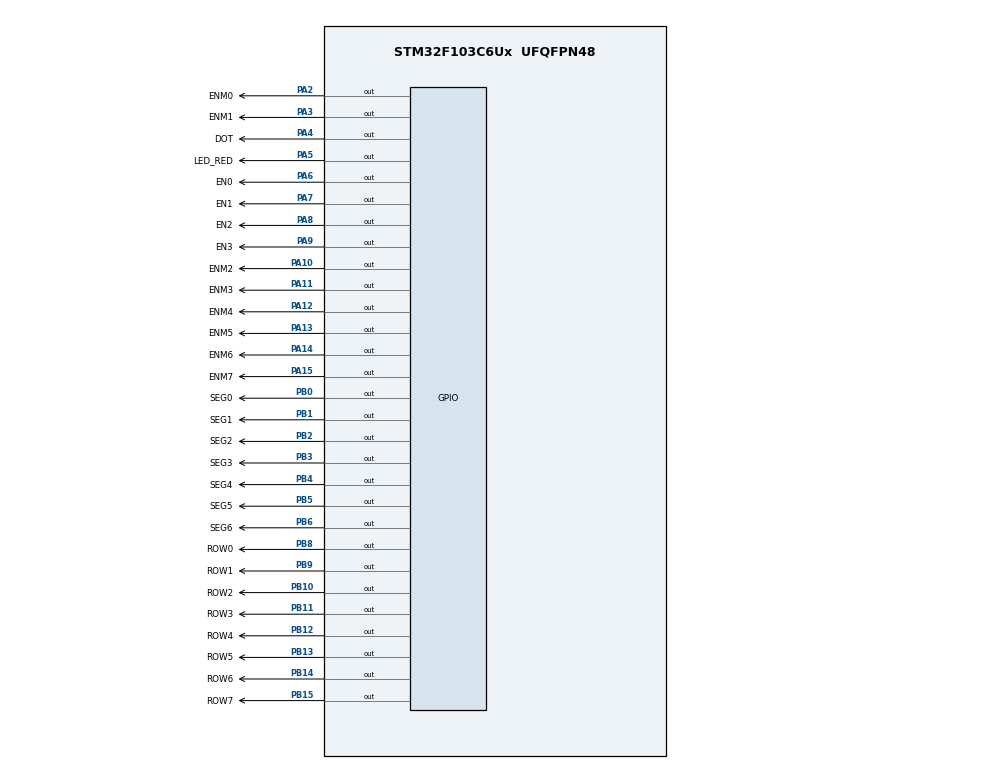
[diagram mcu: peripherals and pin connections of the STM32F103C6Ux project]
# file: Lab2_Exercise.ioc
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Mcu.Family=STM32F1
Mcu.Name=STM32F103C6Ux
Mcu.Package=UFQFPN48
NVIC.PriorityGroup=NVIC_PRIORITYGROUP_4
NVIC.TIM2_IRQn=true\:0\:0\:false\:false\:true\:true\:true
PA10.GPIO_Label=ENM2
PA10.Signal=GPIO_Output
PA11.GPIO_Label=ENM3
PA11.Signal=GPIO_Output
PA12.GPIO_Label=ENM4
PA12.Signal=GPIO_Output
PA13.GPIO_Label=ENM5
PA13.Signal=GPIO_Output
PA14.GPIO_Label=ENM6
PA14.Signal=GPIO_Output
PA15.GPIO_Label=ENM7
PA15.Signal=GPIO_Output
PA2.GPIO_Label=ENM0
PA2.Signal=GPIO_Output
PA3.GPIO_Label=ENM1
PA3.Signal=GPIO_Output
PA4.GPIO_Label=DOT
PA4.Signal=GPIO_Output
PA5.GPIO_Label=LED_RED
PA5.Signal=GPIO_Output
PA6.GPIO_Label=EN0
PA6.Signal=GPIO_Output
PA7.GPIO_Label=EN1
PA7.Signal=GPIO_Output
PA8.GPIO_Label=EN2
PA8.Signal=GPIO_Output
PA9.GPIO_Label=EN3
PA9.Signal=GPIO_Output
PB0.GPIO_Label=SEG0
PB0.Signal=GPIO_Output
PB1.GPIO_Label=SEG1
PB1.Signal=GPIO_Output
PB10.GPIO_Label=ROW2
PB10.Signal=GPIO_Output
PB11.GPIO_Label=ROW3
PB11.Signal=GPIO_Output
PB12.GPIO_Label=ROW4
PB12.Signal=GPIO_Output
PB13.GPIO_Label=ROW5
PB13.Signal=GPIO_Output
PB14.GPIO_Label=ROW6
PB14.Signal=GPIO_Output
PB15.GPIO_Label=ROW7
PB15.Signal=GPIO_Output
PB2.GPIO_Label=SEG2
PB2.Signal=GPIO_Output
PB3.GPIO_Label=SEG3
PB3.Signal=GPIO_Output
PB4.GPIO_Label=SEG4
PB4.Signal=GPIO_Output
PB5.GPIO_Label=SEG5
PB5.Signal=GPIO_Output
PB6.GPIO_Label=SEG6
PB6.Signal=GPIO_Output
PB8.GPIO_Label=ROW0
PB8.Signal=GPIO_Output
PB9.GPIO_Label=ROW1
PB9.Signal=GPIO_Output
ProjectManager.HeapSize=0x200
ProjectManager.StackSize=0x400
ProjectManager.TargetToolchain=STM32CubeIDE
RCC.APB1Freq_Value=8000000
RCC.APB2Freq_Value=8000000
TIM2.CounterMode=TIM_COUNTERMODE_UP
TIM2.Period=9
TIM2.Prescaler=7999
VP_SYS_VS_ND.Mode=No_Debug
VP_TIM2_VS_ClockSourceINT.Mode=Internal
board=custom

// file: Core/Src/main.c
/* USER CODE BEGIN Header */
/**
  ******************************************************************************
  * @file           : main.c
  * @brief          : Main program body
  ******************************************************************************
  * @attention
  *
  * <h2><center>&copy; Copyright (c) 2023 STMicroelectronics.
  * All rights reserved.</center></h2>
  *
  * This software component is licensed by ST under BSD 3-Clause license,
  * the "License"; You may not use this file except in compliance with the
  * License. You may obtain a copy of the License at:
  *                        opensource.org/licenses/BSD-3-Clause
  *
  ******************************************************************************
  */
/* USER CODE END Header */
#include "main.h"

/* USER CODE BEGIN Includes */
#include "software_timer.h"
/* USER CODE END Includes */

TIM_HandleTypeDef htim2;

void SystemClock_Config(void);
static void MX_GPIO_Init(void);
static void MX_TIM2_Init(void);
/* USER CODE BEGIN PFP */
void display7SEG(int num);
void update7SEG(int index);
void updateClockBuffer(int hour, int minute);
void clearRow();
void clearCol();
void setRow(uint8_t code);
void updateLEDMatrix(int index, int index_led_matrix);
/* USER CODE END PFP */

int main(void)
{

  /* MCU Configuration--------------------------------------------------------*/

  /* Reset of all peripherals, Initializes the Flash interface and the Systick. */
  HAL_Init();

  /* Configure the system clock */
  SystemClock_Config();

  /* Initialize all configured peripherals */
  MX_GPIO_Init();
  MX_TIM2_Init();
  /* USER CODE BEGIN 2 */
  HAL_TIM_Base_Start_IT(&htim2);
  /* USER CODE END 2 */

  /* Infinite loop */
  /* USER CODE BEGIN WHILE */

  const int MAX_LED = 4;
  int index_led = 0;
  int hour = 15 , minute = 8 , second = 50;

  const int MAX_LED_MATRIX = 8;
  int index_led_matrix = 0;
  int col = 3;
  int currentState = 3;

  setTimer(10, 1);
  setTimer(100, 2);
  setTimer(100, 3);
  setTimer(100, 4);
  setTimer(1, 5);
  while (1)
  {
	  if (timer_flag[1] == 1){
		  setTimer(10, 1);
		  update7SEG(index_led);
		  index_led = (index_led + 1) % MAX_LED;
	  }

	  if (timer_flag[2] == 1){
		  setTimer(100, 2);
		  HAL_GPIO_TogglePin(LED_RED_GPIO_Port, LED_RED_Pin);
	  }

	  if (timer_flag[3] == 1){
		  setTimer(100, 3);
		  HAL_GPIO_TogglePin(DOT_GPIO_Port, DOT_Pin);
	  }

	  if (timer_flag[4] == 1){
		  setTimer(100, 4);
		  second++;
		  if (second >= 60){
			  second = 0;
			  minute++;
		  }
		  if (minute >= 60){
			  minute = 0;
			  hour++;
		  }
		  if (hour >= 24) hour = 0;
		  updateClockBuffer(hour, minute);
	  }

	  if (timer_flag[5] == 1){
		  setTimer(1, 5);
		  updateLEDMatrix(currentState, index_led_matrix);
		  currentState++;
		  index_led_matrix++;
		  if(index_led_matrix >= MAX_LED_MATRIX){
			  col--;
			  if (col == -8) col = 7;
			  currentState = col;
			  index_led_matrix = 0;

		  }
	  }

    /* USER CODE END WHILE */

  }
}

void SystemClock_Config(void)
{
  RCC_OscInitTypeDef RCC_OscInitStruct = {0};
  RCC_ClkInitTypeDef RCC_ClkInitStruct = {0};

  /** Initializes the RCC Oscillators according to the specified parameters
  * in the RCC_OscInitTypeDef structure.
  */
  RCC_OscInitStruct.OscillatorType = RCC_OSCILLATORTYPE_HSI;
  RCC_OscInitStruct.HSIState = RCC_HSI_ON;
  RCC_OscInitStruct.HSICalibrationValue = RCC_HSICALIBRATION_DEFAULT;
  RCC_OscInitStruct.PLL.PLLState = RCC_PLL_NONE;
  if (HAL_RCC_OscConfig(&RCC_OscInitStruct) != HAL_OK)
  {
    Error_Handler();
  }
  /** Initializes the CPU, AHB and APB buses clocks
  */
  RCC_ClkInitStruct.ClockType = RCC_CLOCKTYPE_HCLK|RCC_CLOCKTYPE_SYSCLK
                              |RCC_CLOCKTYPE_PCLK1|RCC_CLOCKTYPE_PCLK2;
  RCC_ClkInitStruct.SYSCLKSource = RCC_SYSCLKSOURCE_HSI;
  RCC_ClkInitStruct.AHBCLKDivider = RCC_SYSCLK_DIV1;
  RCC_ClkInitStruct.APB1CLKDivider = RCC_HCLK_DIV1;
  RCC_ClkInitStruct.APB2CLKDivider = RCC_HCLK_DIV1;

  if (HAL_RCC_ClockConfig(&RCC_ClkInitStruct, FLASH_LATENCY_0) != HAL_OK)
  {
    Error_Handler();
  }
}

static void MX_TIM2_Init(void)
{

  TIM_ClockConfigTypeDef sClockSourceConfig = {0};
  TIM_MasterConfigTypeDef sMasterConfig = {0};

  htim2.Instance = TIM2;
  htim2.Init.Prescaler = 7999;
  htim2.Init.CounterMode = TIM_COUNTERMODE_UP;
  htim2.Init.Period = 9;
  htim2.Init.ClockDivision = TIM_CLOCKDIVISION_DIV1;
  htim2.Init.AutoReloadPreload = TIM_AUTORELOAD_PRELOAD_DISABLE;
  if (HAL_TIM_Base_Init(&htim2) != HAL_OK)
  {
    Error_Handler();
  }
  sClockSourceConfig.ClockSource = TIM_CLOCKSOURCE_INTERNAL;
  if (HAL_TIM_ConfigClockSource(&htim2, &sClockSourceConfig) != HAL_OK)
  {
    Error_Handler();
  }
  sMasterConfig.MasterOutputTrigger = TIM_TRGO_RESET;
  sMasterConfig.MasterSlaveMode = TIM_MASTERSLAVEMODE_DISABLE;
  if (HAL_TIMEx_MasterConfigSynchronization(&htim2, &sMasterConfig) != HAL_OK)
  {
    Error_Handler();
  }

}

static void MX_GPIO_Init(void)
{
  GPIO_InitTypeDef GPIO_InitStruct = {0};

  /* GPIO Ports Clock Enable */
  __HAL_RCC_GPIOA_CLK_ENABLE();
  __HAL_RCC_GPIOB_CLK_ENABLE();

  /*Configure GPIO pin Output Level */
  HAL_GPIO_WritePin(GPIOA, ENM0_Pin|ENM1_Pin|DOT_Pin|LED_RED_Pin
                          |EN0_Pin|EN1_Pin|EN2_Pin|EN3_Pin
                          |ENM2_Pin|ENM3_Pin|ENM4_Pin|ENM5_Pin
                          |ENM6_Pin|ENM7_Pin, GPIO_PIN_RESET);

  /*Configure GPIO pin Output Level */
  HAL_GPIO_WritePin(GPIOB, SEG0_Pin|SEG1_Pin|SEG2_Pin|ROW2_Pin
                          |ROW3_Pin|ROW4_Pin|ROW5_Pin|ROW6_Pin
                          |ROW7_Pin|SEG3_Pin|SEG4_Pin|SEG5_Pin
                          |SEG6_Pin|ROW0_Pin|ROW1_Pin, GPIO_PIN_RESET);

  /*Configure GPIO pins : ENM0_Pin ENM1_Pin DOT_Pin LED_RED_Pin
                           EN0_Pin EN1_Pin EN2_Pin EN3_Pin
                           ENM2_Pin ENM3_Pin ENM4_Pin ENM5_Pin
                           ENM6_Pin ENM7_Pin */
  GPIO_InitStruct.Pin = ENM0_Pin|ENM1_Pin|DOT_Pin|LED_RED_Pin
                          |EN0_Pin|EN1_Pin|EN2_Pin|EN3_Pin
                          |ENM2_Pin|ENM3_Pin|ENM4_Pin|ENM5_Pin
                          |ENM6_Pin|ENM7_Pin;
  GPIO_InitStruct.Mode = GPIO_MODE_OUTPUT_PP;
  GPIO_InitStruct.Pull = GPIO_NOPULL;
  GPIO_InitStruct.Speed = GPIO_SPEED_FREQ_LOW;
  HAL_GPIO_Init(GPIOA, &GPIO_InitStruct);

  /*Configure GPIO pins : SEG0_Pin SEG1_Pin SEG2_Pin ROW2_Pin
                           ROW3_Pin ROW4_Pin ROW5_Pin ROW6_Pin
                           ROW7_Pin SEG3_Pin SEG4_Pin SEG5_Pin
                           SEG6_Pin ROW0_Pin ROW1_Pin */
  GPIO_InitStruct.Pin = SEG0_Pin|SEG1_Pin|SEG2_Pin|ROW2_Pin
                          |ROW3_Pin|ROW4_Pin|ROW5_Pin|ROW6_Pin
                          |ROW7_Pin|SEG3_Pin|SEG4_Pin|SEG5_Pin
                          |SEG6_Pin|ROW0_Pin|ROW1_Pin;
  GPIO_InitStruct.Mode = GPIO_MODE_OUTPUT_PP;
  GPIO_InitStruct.Pull = GPIO_NOPULL;
  GPIO_InitStruct.Speed = GPIO_SPEED_FREQ_LOW;
  HAL_GPIO_Init(GPIOB, &GPIO_InitStruct);

}

/* USER CODE BEGIN 4 */
void display7SEG(int num){
	switch (num){
		case 0:
			HAL_GPIO_WritePin(SEG0_GPIO_Port, SEG0_Pin, RESET);
			HAL_GPIO_WritePin(SEG1_GPIO_Port, SEG1_Pin, RESET);
			HAL_GPIO_WritePin(SEG2_GPIO_Port, SEG2_Pin, RESET);
			HAL_GPIO_WritePin(SEG3_GPIO_Port, SEG3_Pin, RESET);
			HAL_GPIO_WritePin(SEG4_GPIO_Port, SEG4_Pin, RESET);
			HAL_GPIO_WritePin(SEG5_GPIO_Port, SEG5_Pin, RESET);
			HAL_GPIO_WritePin(SEG6_GPIO_Port, SEG6_Pin, SET);
			break;
		case 1:
			HAL_GPIO_WritePin(SEG0_GPIO_Port, SEG0_Pin, SET);
			HAL_GPIO_WritePin(SEG1_GPIO_Port, SEG1_Pin, RESET);
			HAL_GPIO_WritePin(SEG2_GPIO_Port, SEG2_Pin, RESET);
			HAL_GPIO_WritePin(SEG3_GPIO_Port, SEG3_Pin, SET);
			HAL_GPIO_WritePin(SEG4_GPIO_Port, SEG4_Pin, SET);
			HAL_GPIO_WritePin(SEG5_GPIO_Port, SEG5_Pin, SET);
			HAL_GPIO_WritePin(SEG6_GPIO_Port, SEG6_Pin, SET);
			break;
		case 2:
			HAL_GPIO_WritePin(SEG0_GPIO_Port, SEG0_Pin, RESET);
			HAL_GPIO_WritePin(SEG1_GPIO_Port, SEG1_Pin, RESET);
			HAL_GPIO_WritePin(SEG2_GPIO_Port, SEG2_Pin, SET);
			HAL_GPIO_WritePin(SEG3_GPIO_Port, SEG3_Pin, RESET);
			HAL_GPIO_WritePin(SEG4_GPIO_Port, SEG4_Pin, RESET);
			HAL_GPIO_WritePin(SEG5_GPIO_Port, SEG5_Pin, SET);
			HAL_GPIO_WritePin(SEG6_GPIO_Port, SEG6_Pin, RESET);
			break;
		case 3:
			HAL_GPIO_WritePin(SEG0_GPIO_Port, SEG0_Pin, RESET);
			HAL_GPIO_WritePin(SEG1_GPIO_Port, SEG1_Pin, RESET);
			HAL_GPIO_WritePin(SEG2_GPIO_Port, SEG2_Pin, RESET);
			HAL_GPIO_WritePin(SEG3_GPIO_Port, SEG3_Pin, RESET);
			HAL_GPIO_WritePin(SEG4_GPIO_Port, SEG4_Pin, SET);
			HAL_GPIO_WritePin(SEG5_GPIO_Port, SEG5_Pin, SET);
			HAL_GPIO_WritePin(SEG6_GPIO_Port, SEG6_Pin, RESET);
			break;
		case 4:
			HAL_GPIO_WritePin(SEG0_GPIO_Port, SEG0_Pin, SET);
			HAL_GPIO_WritePin(SEG1_GPIO_Port, SEG1_Pin, RESET);
			HAL_GPIO_WritePin(SEG2_GPIO_Port, SEG2_Pin, RESET);
			HAL_GPIO_WritePin(SEG3_GPIO_Port, SEG3_Pin, SET);
			HAL_GPIO_WritePin(SEG4_GPIO_Port, SEG4_Pin, SET);
			HAL_GPIO_WritePin(SEG5_GPIO_Port, SEG5_Pin, RESET);
			HAL_GPIO_WritePin(SEG6_GPIO_Port, SEG6_Pin, RESET);
			break;
		case 5:
			HAL_GPIO_WritePin(SEG0_GPIO_Port, SEG0_Pin, RESET);
			HAL_GPIO_WritePin(SEG1_GPIO_Port, SEG1_Pin, SET);
			HAL_GPIO_WritePin(SEG2_GPIO_Port, SEG2_Pin, RESET);
			HAL_GPIO_WritePin(SEG3_GPIO_Port, SEG3_Pin, RESET);
			HAL_GPIO_WritePin(SEG4_GPIO_Port, SEG4_Pin, SET);
			HAL_GPIO_WritePin(SEG5_GPIO_Port, SEG5_Pin, RESET);
			HAL_GPIO_WritePin(SEG6_GPIO_Port, SEG6_Pin, RESET);
			break;
		case 6:
			HAL_GPIO_WritePin(SEG0_GPIO_Port, SEG0_Pin, RESET);
			HAL_GPIO_WritePin(SEG1_GPIO_Port, SEG1_Pin, SET);
			HAL_GPIO_WritePin(SEG2_GPIO_Port, SEG2_Pin, RESET);
			HAL_GPIO_WritePin(SEG3_GPIO_Port, SEG3_Pin, RESET);
			HAL_GPIO_WritePin(SEG4_GPIO_Port, SEG4_Pin, RESET);
			HAL_GPIO_WritePin(SEG5_GPIO_Port, SEG5_Pin, RESET);
			HAL_GPIO_WritePin(SEG6_GPIO_Port, SEG6_Pin, RESET);
			break;
		case 7:
			HAL_GPIO_WritePin(SEG0_GPIO_Port, SEG0_Pin, RESET);
			HAL_GPIO_WritePin(SEG1_GPIO_Port, SEG1_Pin, RESET);
			HAL_GPIO_WritePin(SEG2_GPIO_Port, SEG2_Pin, RESET);
			HAL_GPIO_WritePin(SEG3_GPIO_Port, SEG3_Pin, SET);
			HAL_GPIO_WritePin(SEG4_GPIO_Port, SEG4_Pin, SET);
			HAL_GPIO_WritePin(SEG5_GPIO_Port, SEG5_Pin, SET);
			HAL_GPIO_WritePin(SEG6_GPIO_Port, SEG6_Pin, SET);
			break;
		case 8:
			HAL_GPIO_WritePin(SEG0_GPIO_Port, SEG0_Pin, RESET);
			HAL_GPIO_WritePin(SEG1_GPIO_Port, SEG1_Pin, RESET);
			HAL_GPIO_WritePin(SEG2_GPIO_Port, SEG2_Pin, RESET);
			HAL_GPIO_WritePin(SEG3_GPIO_Port, SEG3_Pin, RESET);
			HAL_GPIO_WritePin(SEG4_GPIO_Port, SEG4_Pin, RESET);
			HAL_GPIO_WritePin(SEG5_GPIO_Port, SEG5_Pin, RESET);
			HAL_GPIO_WritePin(SEG6_GPIO_Port, SEG6_Pin, RESET);
			break;
		case 9:
			HAL_GPIO_WritePin(SEG0_GPIO_Port, SEG0_Pin, RESET);
			HAL_GPIO_WritePin(SEG1_GPIO_Port, SEG1_Pin, RESET);
			HAL_GPIO_WritePin(SEG2_GPIO_Port, SEG2_Pin, RESET);
			HAL_GPIO_WritePin(SEG3_GPIO_Port, SEG3_Pin, RESET);
			HAL_GPIO_WritePin(SEG4_GPIO_Port, SEG4_Pin, SET);
			HAL_GPIO_WritePin(SEG5_GPIO_Port, SEG5_Pin, RESET);
			HAL_GPIO_WritePin(SEG6_GPIO_Port, SEG6_Pin, RESET);
			break;
		default:
			break;
	}
}

int led_buffer[4] = {1, 5, 0, 8};
void update7SEG(int index){
	display7SEG(led_buffer[index]);
    switch (index){
          case 0:
        	  HAL_GPIO_WritePin(GPIOA, EN0_Pin, RESET);
        	  HAL_GPIO_WritePin(GPIOA, EN1_Pin, SET);
        	  HAL_GPIO_WritePin(GPIOA, EN2_Pin, SET);
        	  HAL_GPIO_WritePin(GPIOA, EN3_Pin, SET);
              break;
          case 1:
        	  HAL_GPIO_WritePin(GPIOA, EN0_Pin, SET);
        	  HAL_GPIO_WritePin(GPIOA, EN1_Pin, RESET);
        	  HAL_GPIO_WritePin(GPIOA, EN2_Pin, SET);
        	  HAL_GPIO_WritePin(GPIOA, EN3_Pin, SET);
              break;
          case 2:
        	  HAL_GPIO_WritePin(GPIOA, EN0_Pin, SET);
        	  HAL_GPIO_WritePin(GPIOA, EN1_Pin, SET);
        	  HAL_GPIO_WritePin(GPIOA, EN2_Pin, RESET);
        	  HAL_GPIO_WritePin(GPIOA, EN3_Pin, SET);
              break;
          case 3:
        	  HAL_GPIO_WritePin(GPIOA, EN0_Pin, SET);
        	  HAL_GPIO_WritePin(GPIOA, EN1_Pin, SET);
        	  HAL_GPIO_WritePin(GPIOA, EN2_Pin, SET);
        	  HAL_GPIO_WritePin(GPIOA, EN3_Pin, RESET);
              break;
          default:
              break;
    }
}

void updateClockBuffer(int hour, int minute){
	led_buffer[0] = hour / 10;
	led_buffer[1] = hour % 10;
	led_buffer[2] = minute / 10;
	led_buffer[3] = minute % 10;
}

void clearCol() {
    HAL_GPIO_WritePin(ENM0_GPIO_Port, ENM0_Pin, SET);
    HAL_GPIO_WritePin(ENM1_GPIO_Port, ENM1_Pin, SET);
    HAL_GPIO_WritePin(ENM2_GPIO_Port, ENM2_Pin, SET);
    HAL_GPIO_WritePin(ENM3_GPIO_Port, ENM3_Pin, SET);
    HAL_GPIO_WritePin(ENM4_GPIO_Port, ENM4_Pin, SET);
    HAL_GPIO_WritePin(ENM5_GPIO_Port, ENM5_Pin, SET);
    HAL_GPIO_WritePin(ENM6_GPIO_Port, ENM6_Pin, SET);
    HAL_GPIO_WritePin(ENM7_GPIO_Port, ENM7_Pin, SET);
}
void clearRow() {
    HAL_GPIO_WritePin(ROW0_GPIO_Port, ROW0_Pin, SET);
    HAL_GPIO_WritePin(ROW1_GPIO_Port, ROW1_Pin, SET);
    HAL_GPIO_WritePin(ROW2_GPIO_Port, ROW2_Pin, SET);
    HAL_GPIO_WritePin(ROW3_GPIO_Port, ROW3_Pin, SET);
    HAL_GPIO_WritePin(ROW4_GPIO_Port, ROW4_Pin, SET);
    HAL_GPIO_WritePin(ROW5_GPIO_Port, ROW5_Pin, SET);
    HAL_GPIO_WritePin(ROW6_GPIO_Port, ROW6_Pin, SET);
    HAL_GPIO_WritePin(ROW7_GPIO_Port, ROW7_Pin, SET);
}
void setRow(uint8_t code) {
    HAL_GPIO_WritePin(ROW7_GPIO_Port, ROW7_Pin, (code & (1 << 0)) ? RESET : SET);
    HAL_GPIO_WritePin(ROW6_GPIO_Port, ROW6_Pin, (code & (1 << 1)) ? RESET : SET);
    HAL_GPIO_WritePin(ROW5_GPIO_Port, ROW5_Pin, (code & (1 << 2)) ? RESET : SET);
    HAL_GPIO_WritePin(ROW4_GPIO_Port, ROW4_Pin, (code & (1 << 3)) ? RESET : SET);
    HAL_GPIO_WritePin(ROW3_GPIO_Port, ROW3_Pin, (code & (1 << 4)) ? RESET : SET);
    HAL_GPIO_WritePin(ROW2_GPIO_Port, ROW2_Pin, (code & (1 << 5)) ? RESET : SET);
    HAL_GPIO_WritePin(ROW1_GPIO_Port, ROW1_Pin, (code & (1 << 6)) ? RESET : SET);
    HAL_GPIO_WritePin(ROW0_GPIO_Port, ROW0_Pin, (code & (1 << 7)) ? RESET : SET);
}

  uint8_t matrix_buffer[8] = {0x3E, 0x48, 0x88, 0x48, 0x3E, 0x00, 0x00,0x00};
  void updateLEDMatrix(int index, int index_led_matrix){
	if (index < 0) return;
	clearCol();
  	clearRow();
  	switch(index){
  		case 0:
  			HAL_GPIO_WritePin(ENM0_GPIO_Port, ENM0_Pin, RESET);
  			break;
  		case 1:
  			HAL_GPIO_WritePin(ENM1_GPIO_Port, ENM1_Pin, RESET);
  			break;
  		case 2:
  			HAL_GPIO_WritePin(ENM2_GPIO_Port, ENM2_Pin, RESET);
  			break;
  		case 3:
  			HAL_GPIO_WritePin(ENM3_GPIO_Port, ENM3_Pin, RESET);
  			break;
  		case 4:
  			HAL_GPIO_WritePin(ENM4_GPIO_Port, ENM4_Pin, RESET);
  			break;
  		case 5:
  			HAL_GPIO_WritePin(ENM5_GPIO_Port, ENM5_Pin, RESET);
  			break;
  		case 6:
  			HAL_GPIO_WritePin(ENM6_GPIO_Port, ENM6_Pin, RESET);
  			break;
  		case 7:
  			HAL_GPIO_WritePin(ENM7_GPIO_Port, ENM7_Pin, RESET);
  			break;
  		default:
  			break;
  	}
  	setRow(matrix_buffer[index_led_matrix]);
  }

void HAL_TIM_PeriodElapsedCallback(TIM_HandleTypeDef *htim){
	timerRun(1);
	timerRun(2);
	timerRun(3);
	timerRun(4);
	timerRun(5);
}
/* USER CODE END 4 */

void Error_Handler(void)
{
  __disable_irq();
  while (1)
  {
  }
}

/************************ (C) COPYRIGHT STMicroelectronics *****END OF FILE****/
